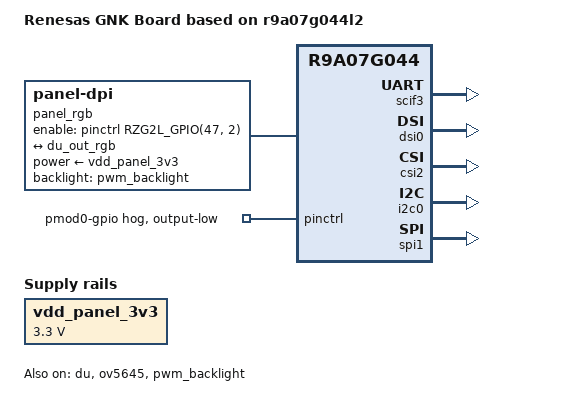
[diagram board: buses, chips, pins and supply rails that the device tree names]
// SPDX-License-Identifier: (GPL-2.0-only OR BSD-2-Clause)
/*
 * Device Tree Source for the RZ/G2L SMARC PHOENIX board
 *
 * Copyright (C) 2022 Regulus Corp.
 */

/dts-v1/;
#include "r9a07g044l2.dtsi"
#include "rzg2l-smarc-som.dtsi"
#include "rzg2l-smarc-pinfunction.dtsi"
#include "rz-gnk-smarc-common.dtsi"


/ {
	model = "Renesas GNK Board based on r9a07g044l2";
	compatible = "renesas,smarc-gnk", "renesas,r9a07g044l2", "renesas,r9a07g044";

	vdd_panel_3v3: vdd_panel_3v3 {
		compatible = "regulator-fixed";
		regulator-name = "lcd-3v3";
		regulator-min-microvolt = <3300000>;
		regulator-max-microvolt = <3300000>;
	};

	panel_rgb: panel-rgb {
		status = "okay";
		compatible = "panel-dpi";
		backlight = <&pwm_backlight>;
		enable-gpios = <&pinctrl RZG2L_GPIO(47, 2) GPIO_ACTIVE_HIGH>;
		power-supply = <&vdd_panel_3v3>;
		/* panel-timing is used for "panel-dpi" compatible */
#if 0
		panel-timing {
			clock-frequency = <25200000>;
			//clock-frequency = <10000000>;
			hactive = <640>;
			vactive = <480>;

			hsync-len = <96>;
			hfront-porch = <16>;
			hback-porch = <48>;

			vsync-len = <2>;
			vfront-porch = <10>;
			vback-porch = <33>;

			hsync-active = <1>;
			vsync-active = <1>;
			de-active = <1>;
			pixelclk-active = <1>;
		};
#else
		panel-timing {
			clock-frequency = <70000000>;
			hactive = <1024>;
			vactive = <768>;

			hsync-len = <136>;
			hfront-porch = <24>;
			hback-porch = <160>;

			vsync-len = <6>;
			vfront-porch = <3>;
			vback-porch = <29>;

			hsync-active = <1>;
			vsync-active = <1>;
			de-active = <1>;
			pixelclk-active = <1>;
		};
#endif
		port {
			panel_in_rgb: endpoint {
				remote-endpoint = <&du_out_rgb>;
			};
		};
	};
};

&scif1 {
	pinctrl-0 = <&scif1_pins>;
	pinctrl-names = "default";
	status = "disabled";
};

&scif3 {
	pinctrl-0 = <&scif3_pins>;
	pinctrl-names = "default";
	status = "okay";
};

&du {
	pinctrl-0 = <&du_pins>;
	pinctrl-names = "default";

	status = "okay";

	ports {
		port@0 {
			du_out_rgb: endpoint {
				remote-endpoint = <&panel_in_rgb>;
			};
		};
	};
};

&pinctrl {
	/delete-node/ can0-stb;
	/delete-node/ can1-stb;
	scif1_pins: scif1 {
		pinmux = <RZG2L_PORT_PINMUX(40, 0, 1)>,	/* TxD */
			 <RZG2L_PORT_PINMUX(40, 1, 1)>;	/* RxD */
	};

	scif3_pins: scif3 {
		pinmux = <RZG2L_PORT_PINMUX(0, 0, 5)>,	/* TxD */
			 <RZG2L_PORT_PINMUX(0, 1, 5)>;	/* RxD */
	};

	pmod0-gpio {
		gpio-hog;
		pinmux = <RZG2L_GPIO(43, 0) GPIO_ACTIVE_HIGH>,
			<RZG2L_GPIO(43, 2) GPIO_ACTIVE_HIGH>,
			<RZG2L_GPIO(41, 0) GPIO_ACTIVE_HIGH>,
			<RZG2L_GPIO(43, 1) GPIO_ACTIVE_HIGH>;
		output-low;
	};
};

&gpt4 {
	status = "disabled";
};

&dsi0 {
	status = "okay";
};

&csi2 {
	status = "okay";
};

&i2c0 {
	status = "okay";
};

&ov5645 {
	status = "okay";
};

&panel {
	status = "disabled";
};

&pwm_backlight {
	status = "okay";
};

&spi1 {
	status = "okay";
};
